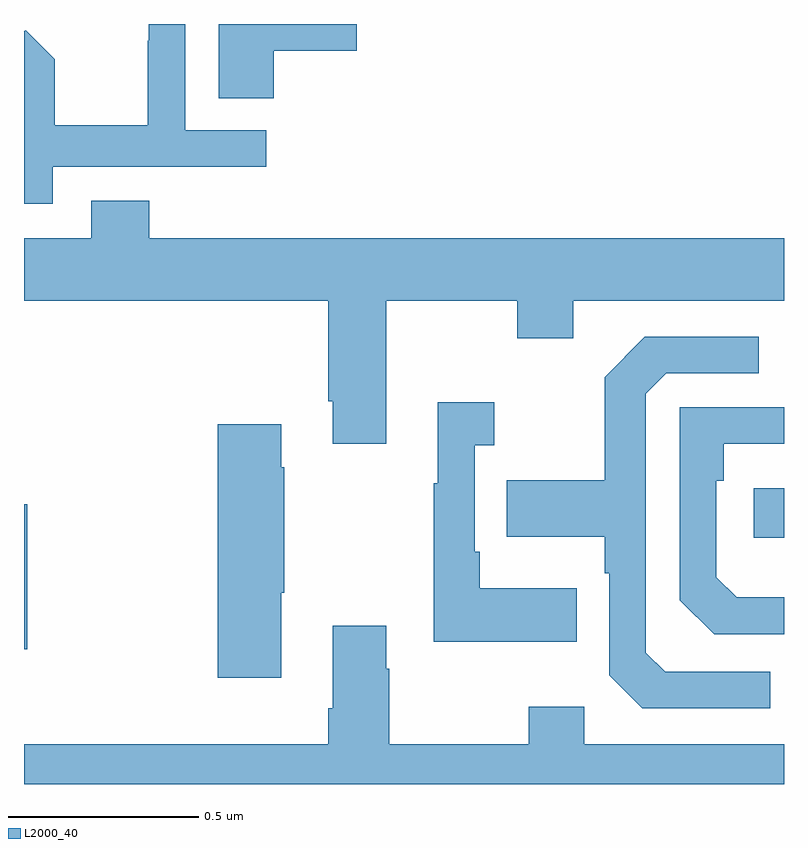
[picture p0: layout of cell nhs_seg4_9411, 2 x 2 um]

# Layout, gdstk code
import gdstk
lib = gdstk.Library(unit=1e-6, precision=1e-09)
def R(c, l, rs):  # rectangles x0, y0, x1, y1
    for r in rs: c.add(gdstk.rectangle(r[:2], r[2:], *l))
def P(c, l, *ps):  # polygons
    for p in ps: c.add(gdstk.Polygon(p, *l))
L2000_40 = (2000, 40)

nhs_seg4_9411 = lib.new_cell('nhs_seg4_9411')
R(nhs_seg4_9411, L2000_40, [(227,777.255,227.009,777.636), (228.921,777.548,229,777.678)])
P(nhs_seg4_9411, L2000_40, [(227.076,778.524),(227.638,778.524),(227.638,778.62),(227.424,778.62),(227.424,778.9),(227.328,778.9),(227.328,778.856),(227.326,778.856),(227.326,778.633),(227.081,778.633),(227.081,778.807),(227.004,778.884),(227.001,778.881),(227,778.882),(227,778.427),(227.076,778.427)],
  [(227.657,778.829),(227.875,778.829),(227.875,778.9),(227.513,778.9),(227.513,778.705),(227.657,778.705)],
  [(227.953,778.172),(228.298,778.172),(228.298,778.073),(228.445,778.073),(228.445,778.172),(229,778.172),(229,778.336),(227.33,778.336),(227.33,778.435),(227.177,778.435),(227.177,778.336),(227,778.336),(227,778.172),(227.801,778.172),(227.801,777.907),(227.813,777.907),(227.813,777.795),(227.953,777.795)],
  [(228.964,777.195),(228.687,777.195),(228.636,777.246),(228.636,777.927),(228.69,777.981),(228.934,777.981),(228.934,778.077),(228.633,778.077),(228.528,777.971),(228.528,777.699),(228.271,777.699),(228.271,777.551),(228.528,777.551),(228.528,777.455),(228.54,777.455),(228.54,777.186),(228.627,777.099),(228.964,777.099)],
  [(228.455,777.415),(228.199,777.415),(228.199,777.511),(228.186,777.511),(228.186,777.791),(228.238,777.791),(228.238,777.904),(228.089,777.904),(228.089,777.691),(228.078,777.691),(228.078,777.275),(228.455,777.275)],
  [(229,777.391),(228.875,777.391),(228.822,777.444),(228.822,777.698),(228.842,777.698),(228.842,777.795),(229,777.795),(229,777.891),(228.726,777.891),(228.726,777.384),(228.816,777.294),(229,777.294)],
  [(227.677,777.403),(227.685,777.403),(227.685,777.734),(227.677,777.734),(227.677,777.847),(227.51,777.847),(227.51,777.18),(227.677,777.18)],
  [(229,777.004),(228.474,777.004),(228.474,777.103),(228.328,777.103),(228.328,777.004),(227.961,777.004),(227.961,777.203),(227.953,777.203),(227.953,777.316),(227.813,777.316),(227.813,777.1),(227.801,777.1),(227.801,777.004),(227,777.004),(227,776.9),(229,776.9)])

lib.write_gds('nhs_seg4_9411.gds')
